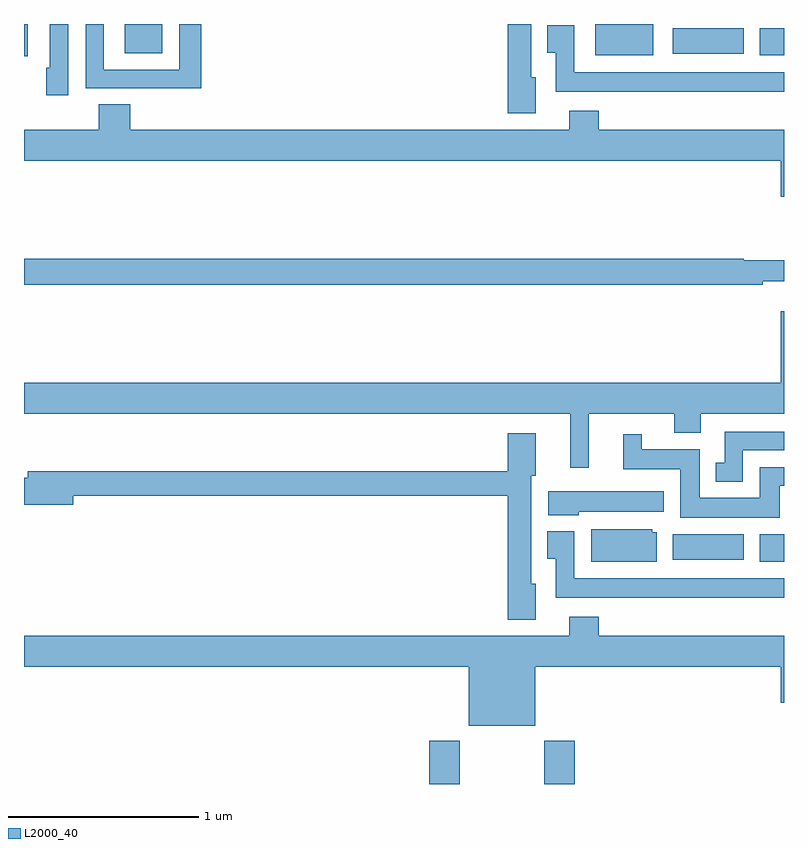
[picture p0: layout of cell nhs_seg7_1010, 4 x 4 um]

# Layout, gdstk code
import gdstk
lib = gdstk.Library(unit=1e-6, precision=1e-09)
def R(c, l, rs):  # rectangles x0, y0, x1, y1
    for r in rs: c.add(gdstk.rectangle(r[:2], r[2:], *l))
def P(c, l, *ps):  # polygons
    for p in ps: c.add(gdstk.Polygon(p, *l))
L2000_40 = (2000, 40)

nhs_seg7_1010 = lib.new_cell('nhs_seg7_1010')
R(nhs_seg7_1010, L2000_40, [(187.133,1000,187.293,1000.228), (187.738,1000,187.898,1000.228), (188.873,1001.171,189,1001.314), (188.415,1001.18,188.788,1001.314), (185,1003.831,185.02,1004), (188.006,1003.835,188.311,1004), (188.873,1003.835,189,1003.978), (188.415,1003.844,188.788,1003.978), (185.531,1003.847,185.728,1004)])
P(nhs_seg7_1010, L2000_40, [(185.232,1004),(185.136,1004),(185.136,1003.77),(185.117,1003.77),(185.117,1003.626),(185.232,1003.626)],
  [(187.693,1003.719),(187.669,1003.719),(187.669,1004),(187.547,1004),(187.547,1003.529),(187.693,1003.529)],
  [(185.933,1004),(185.817,1004),(185.817,1003.758),(185.421,1003.758),(185.421,1004),(185.325,1004),(185.325,1003.662),(185.641,1003.662),(185.641,1003.661),(185.933,1003.661)],
  [(189,1003.747),(187.896,1003.747),(187.896,1003.993),(187.754,1003.993),(187.754,1003.849),(187.799,1003.849),(187.799,1003.643),(189,1003.643)],
  [(189,1003.444),(188.024,1003.444),(188.024,1003.543),(187.871,1003.543),(187.871,1003.444),(185.558,1003.444),(185.558,1003.577),(185.393,1003.577),(185.393,1003.444),(185,1003.444),(185,1003.28),(188.984,1003.28),(188.984,1003.092),(189,1003.092)],
  [(188.888,1002.647),(189,1002.647),(189,1002.757),(188.788,1002.757),(188.788,1002.764),(185,1002.764),(185,1002.628),(188.888,1002.628)],
  [(187.973,1001.948),(188.423,1001.948),(188.423,1001.849),(188.563,1001.849),(188.563,1001.948),(189,1001.948),(189,1002.487),(188.984,1002.487),(188.984,1002.112),(185,1002.112),(185,1001.948),(187.874,1001.948),(187.874,1001.664),(187.973,1001.664)],
  [(188.784,1001.757),(189,1001.757),(189,1001.853),(188.688,1001.853),(188.688,1001.691),(188.642,1001.691),(188.642,1001.591),(188.784,1001.591)],
  [(187.693,1001.055),(187.669,1001.055),(187.669,1001.622),(187.693,1001.622),(187.693,1001.845),(187.547,1001.845),(187.547,1001.647),(185.021,1001.647),(185.021,1001.613),(185,1001.613),(185,1001.471),(185.26,1001.471),(185.26,1001.518),(187.547,1001.518),(187.547,1000.865),(187.693,1000.865)],
  [(188.977,1001.571),(189,1001.571),(189,1001.667),(188.873,1001.667),(188.873,1001.506),(188.557,1001.506),(188.557,1001.761),(188.251,1001.761),(188.251,1001.842),(188.153,1001.842),(188.153,1001.657),(188.453,1001.657),(188.453,1001.402),(188.977,1001.402)],
  [(187.92,1001.432),(188.368,1001.432),(188.368,1001.542),(187.758,1001.542),(187.758,1001.414),(187.92,1001.414)],
  [(188.329,1001.325),(188.307,1001.325),(188.307,1001.341),(187.985,1001.341),(187.985,1001.171),(188.329,1001.171)],
  [(189,1001.083),(187.896,1001.083),(187.896,1001.329),(187.754,1001.329),(187.754,1001.185),(187.799,1001.185),(187.799,1000.979),(189,1000.979)],
  [(187.69,1000.616),(188.984,1000.616),(188.984,1000.428),(189,1000.428),(189,1000.78),(188.024,1000.78),(188.024,1000.879),(187.871,1000.879),(187.871,1000.78),(185,1000.78),(185,1000.616),(187.34,1000.616),(187.34,1000.307),(187.69,1000.307)])

lib.write_gds('nhs_seg7_1010.gds')
